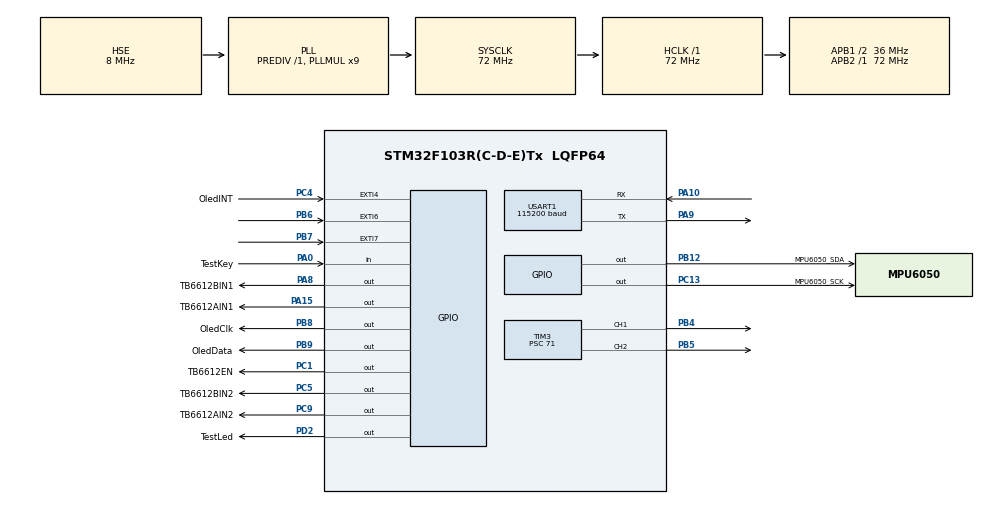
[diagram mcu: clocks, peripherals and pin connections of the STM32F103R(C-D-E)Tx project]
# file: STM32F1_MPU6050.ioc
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Mcu.Family=STM32F1
Mcu.Name=STM32F103R(C-D-E)Tx
Mcu.Package=LQFP64
NVIC.EXTI4_IRQn=true\:0\:0\:false\:false\:true\:true\:true\:true
NVIC.EXTI9_5_IRQn=true\:0\:0\:false\:false\:true\:true\:true\:true
NVIC.PriorityGroup=NVIC_PRIORITYGROUP_4
NVIC.TIM3_IRQn=true\:0\:0\:false\:false\:true\:true\:true\:true
NVIC.TIM7_IRQn=true\:0\:0\:false\:false\:true\:true\:true\:true
PA0-WKUP.GPIO_Label=TestKey
PA0-WKUP.Signal=GPIO_Input
PA10.Mode=Asynchronous
PA10.Signal=USART1_RX
PA13.Mode=Serial_Wire
PA13.Signal=SYS_JTMS-SWDIO
PA14.Mode=Serial_Wire
PA14.Signal=SYS_JTCK-SWCLK
PA15.GPIO_Label=TB6612AIN1
PA15.Signal=GPIO_Output
PA8.GPIO_Label=TB6612BIN1
PA8.Signal=GPIO_Output
PA9.Mode=Asynchronous
PA9.Signal=USART1_TX
PB12.GPIO_Label=MPU6050_SDA
PB12.Signal=GPIO_Output
PB4.Signal=S_TIM3_CH1
PB5.Signal=S_TIM3_CH2
PB6.Signal=GPXTI6
PB7.Signal=GPXTI7
PB8.GPIO_Label=OledClk
PB8.Signal=GPIO_Output
PB9.GPIO_Label=OledData
PB9.Signal=GPIO_Output
PC1.GPIO_Label=TB6612EN
PC1.Signal=GPIO_Output
PC13-TAMPER-RTC.GPIO_Label=MPU6050_SCK
PC13-TAMPER-RTC.Signal=GPIO_Output
PC4.GPIO_Label=OledINT
PC4.GPIO_ModeDefaultEXTI=GPIO_MODE_IT_FALLING
PC4.Signal=GPXTI4
PC5.GPIO_Label=TB6612BIN2
PC5.Signal=GPIO_Output
PC9.GPIO_Label=TB6612AIN2
PC9.Signal=GPIO_Output
PD0-OSC_IN.Mode=HSE-External-Oscillator
PD0-OSC_IN.Signal=RCC_OSC_IN
PD1-OSC_OUT.Mode=HSE-External-Oscillator
PD1-OSC_OUT.Signal=RCC_OSC_OUT
PD2.GPIO_Label=TestLed
PD2.Signal=GPIO_Output
ProjectManager.HeapSize=0x200
ProjectManager.StackSize=0x400
ProjectManager.TargetToolchain=MDK-ARM V5
RCC.AHBFreq_Value=72000000
RCC.APB1CLKDivider=RCC_HCLK_DIV2
RCC.APB1Freq_Value=36000000
RCC.APB1TimFreq_Value=72000000
RCC.APB2Freq_Value=72000000
RCC.APB2TimFreq_Value=72000000
RCC.HCLKFreq_Value=72000000
RCC.PLLMUL=RCC_PLL_MUL9
RCC.PLLSourceVirtual=RCC_PLLSOURCE_HSE
RCC.SYSCLKFreq_VALUE=72000000
RCC.SYSCLKSource=RCC_SYSCLKSOURCE_PLLCLK
RCC.USBFreq_Value=72000000
SH.S_TIM3_CH1.0=TIM3_CH1,PWM Generation1 CH1
SH.S_TIM3_CH2.0=TIM3_CH2,PWM Generation2 CH2
TIM3.Channel-PWM\ Generation1\ CH1=TIM_CHANNEL_1
TIM3.Channel-PWM\ Generation2\ CH2=TIM_CHANNEL_2
TIM3.Period=999
TIM3.Prescaler=71
TIM7.Period=999
TIM7.Prescaler=71
USART1.BaudRate=115200
USART1.VirtualMode=VM_ASYNC
VP_TIM3_VS_ClockSourceINT.Mode=Internal
VP_TIM7_VS_ClockSourceINT.Mode=Enable_Timer
board=custom

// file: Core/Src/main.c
/* USER CODE BEGIN Header */
/**
  ******************************************************************************
  * @file           : main.c
  * @brief          : Main program body
  ******************************************************************************
  * @attention
  *
  * Copyright (c) 2023 STMicroelectronics.
  * All rights reserved.
  *
  * This software is licensed under terms that can be found in the LICENSE file
  * in the root directory of this software component.
  * If no LICENSE file comes with this software, it is provided AS-IS.
  *
  ******************************************************************************
  */
/* USER CODE END Header */
#include "main.h"
#include "tim.h"
#include "usart.h"
#include "gpio.h"

/* USER CODE BEGIN Includes */
#include "stdio.h"
#include "string.h"
#include "isr.h"
#include "IIC.h"
#include "mpu6050.h"
#include "inv_mpu.h"
#include "inv_mpu_dmp_motion_driver.h"
#include "I2C.h"
#include "Menu.h"
#include "STM32OledKey.h"
#include "motor.h"
#include "pid.h"
/* USER CODE END Includes */

/* USER CODE BEGIN PTD */
#define LENGTH 1 //接收缓冲区大小
unsigned char RxBuffer[LENGTH];//接收缓冲区
unsigned char txbuf[100];
uint8_t k=0;
/* USER CODE END PTD */

/* USER CODE BEGIN PV */
float yaw_used = 0;
float pitch,roll,yaw; 		    //欧拉角
short aacx,aacy,aacz;			//加速度传感器原始数据
short gyrox,gyroy,gyroz;		//陀螺仪原始数据
float temp;					    //温度
/* USER CODE END PV */

void SystemClock_Config(void);

int main(void)
{

  /* MCU Configuration--------------------------------------------------------*/

  /* Reset of all peripherals, Initializes the Flash interface and the Systick. */
  HAL_Init();

  /* Configure the system clock */
  SystemClock_Config();

  /* Initialize all configured peripherals */
  MX_GPIO_Init();
  MX_USART1_UART_Init();
  MX_TIM3_Init();
  MX_TIM7_Init();
  /* USER CODE BEGIN 2 */
	while(MPU_Init()){};//MPU6050初始化
 	mpu_dmp_init();//dmp初始化
	OledKeyInit();
  MainMenu();
  HAL_UART_Receive_IT(&huart1,(unsigned char*)RxBuffer,LENGTH);//使能接收中断

	MotorInit();//放了使能TB6612	和初始化转动方向
	PID_Init(); //PID参数初始化
  HAL_TIM_PWM_Start (&htim3  ,TIM_CHANNEL_1 ); //启动定时器3的1通道，输入周期为100ms，占空比为50%的PWMA信号
  HAL_TIM_PWM_Start (&htim3  ,TIM_CHANNEL_2 ); //启动定时器3的2通道，输入周期为100ms，占空比为50%的PWMB信号
//  Motor_Stop();//为了调陀螺仪，失能TB6612和TIM7
  __HAL_TIM_CLEAR_IT(&htim7,TIM_IT_UPDATE); //清除定时器初始化过程中的更新中断标志，避免定时器一启动就进入中断
  HAL_TIM_Base_Start_IT(&htim7);//使能定时器7更新中断并启动定时器

  /* USER CODE END 2 */

  /* Infinite loop */
  while (1)
  {

    /* USER CODE BEGIN 3 */
		while(mpu_dmp_get_data(&pitch, &roll, &yaw));	//必须要用while等待，才能读取成功
		MPU_Get_Gyroscope(&gyrox, &gyroy, &gyroz);//得到陀螺仪数据
//    printf("X:%.1f°  Y:%.1f°  Z:%.1f°  \r\n",roll,pitch,yaw);//串口1输出采集信息

		Oled_Displaying();

		if(OledKeyFlag)
		{
			OledKeyFlag = 0;
			DispPic(CH455_ReadKeyCode());
		}

  }
  /* USER CODE END 3 */
}

void SystemClock_Config(void)
{
  RCC_OscInitTypeDef RCC_OscInitStruct = {0};
  RCC_ClkInitTypeDef RCC_ClkInitStruct = {0};

  /** Initializes the RCC Oscillators according to the specified parameters
  * in the RCC_OscInitTypeDef structure.
  */
  RCC_OscInitStruct.OscillatorType = RCC_OSCILLATORTYPE_HSE;
  RCC_OscInitStruct.HSEState = RCC_HSE_ON;
  RCC_OscInitStruct.HSEPredivValue = RCC_HSE_PREDIV_DIV1;
  RCC_OscInitStruct.HSIState = RCC_HSI_ON;
  RCC_OscInitStruct.PLL.PLLState = RCC_PLL_ON;
  RCC_OscInitStruct.PLL.PLLSource = RCC_PLLSOURCE_HSE;
  RCC_OscInitStruct.PLL.PLLMUL = RCC_PLL_MUL9;
  if (HAL_RCC_OscConfig(&RCC_OscInitStruct) != HAL_OK)
  {
    Error_Handler();
  }

  /** Initializes the CPU, AHB and APB buses clocks
  */
  RCC_ClkInitStruct.ClockType = RCC_CLOCKTYPE_HCLK|RCC_CLOCKTYPE_SYSCLK
                              |RCC_CLOCKTYPE_PCLK1|RCC_CLOCKTYPE_PCLK2;
  RCC_ClkInitStruct.SYSCLKSource = RCC_SYSCLKSOURCE_PLLCLK;
  RCC_ClkInitStruct.AHBCLKDivider = RCC_SYSCLK_DIV1;
  RCC_ClkInitStruct.APB1CLKDivider = RCC_HCLK_DIV2;
  RCC_ClkInitStruct.APB2CLKDivider = RCC_HCLK_DIV1;

  if (HAL_RCC_ClockConfig(&RCC_ClkInitStruct, FLASH_LATENCY_2) != HAL_OK)
  {
    Error_Handler();
  }
}

/* USER CODE BEGIN 4 */
void HAL_UART_RxCpltCallback(UART_HandleTypeDef *UartHandle)
{
	if(UartHandle->Instance == USART1)
	{
		RxFlag = 1;
		HAL_UART_Receive_IT(&huart1,RxBuffer,1);
	}

}

int fputc(int ch,FILE *f)
{
	HAL_UART_Transmit(&huart1,(uint8_t*)&ch,1,HAL_MAX_DELAY);
	return ch;
}
/* USER CODE END 4 */

void Error_Handler(void)
{
  __disable_irq();
  while (1)
  {
  }
}
